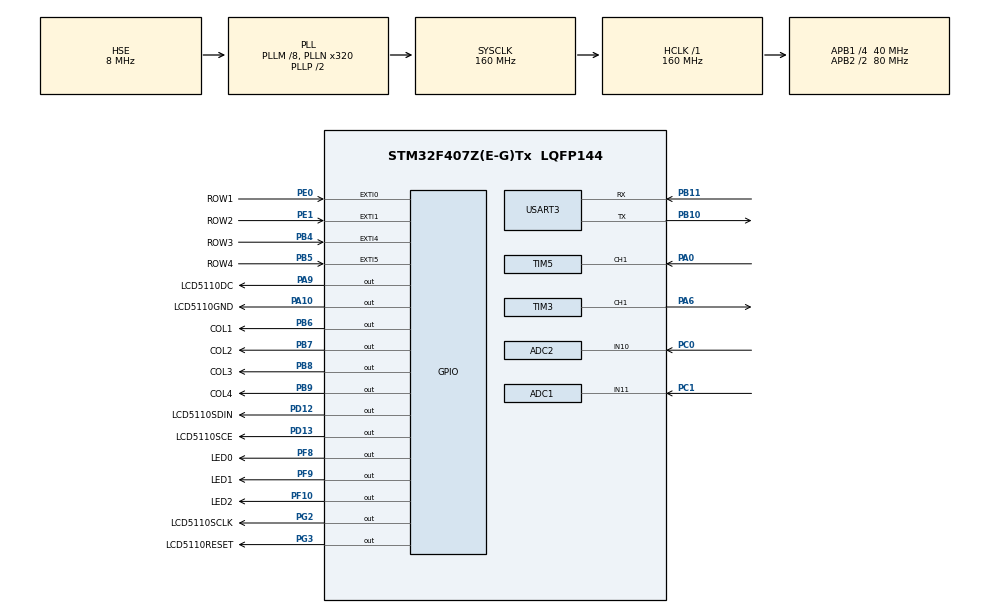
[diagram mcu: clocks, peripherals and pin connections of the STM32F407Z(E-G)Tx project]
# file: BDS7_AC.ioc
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ADC1.Channel-4\#ChannelRegularConversion=ADC_CHANNEL_11
ADC1.ClockPrescaler=ADC_CLOCK_SYNC_PCLK_DIV4
ADC1.ContinuousConvMode=DISABLE
ADC1.NbrOfConversionFlag=1
ADC1.Rank-4\#ChannelRegularConversion=1
ADC1.SamplingTime-4\#ChannelRegularConversion=ADC_SAMPLETIME_15CYCLES
ADC1.master=1
ADC2.Channel-2\#ChannelRegularConversion=ADC_CHANNEL_10
ADC2.ClockPrescaler=ADC_CLOCK_SYNC_PCLK_DIV4
ADC2.NbrOfConversionFlag=1
ADC2.Rank-2\#ChannelRegularConversion=1
ADC2.SamplingTime-2\#ChannelRegularConversion=ADC_SAMPLETIME_15CYCLES
Dma.Request0=TIM5_CH1
Dma.TIM5_CH1.0.Direction=DMA_PERIPH_TO_MEMORY
Dma.TIM5_CH1.0.FIFOMode=DMA_FIFOMODE_DISABLE
Dma.TIM5_CH1.0.Instance=DMA1_Stream2
Dma.TIM5_CH1.0.MemDataAlignment=DMA_MDATAALIGN_WORD
Dma.TIM5_CH1.0.MemInc=DMA_MINC_ENABLE
Dma.TIM5_CH1.0.Mode=DMA_CIRCULAR
Dma.TIM5_CH1.0.PeriphDataAlignment=DMA_PDATAALIGN_WORD
Dma.TIM5_CH1.0.PeriphInc=DMA_PINC_DISABLE
Dma.TIM5_CH1.0.Priority=DMA_PRIORITY_LOW
Mcu.Family=STM32F4
Mcu.Name=STM32F407Z(E-G)Tx
Mcu.Package=LQFP144
NVIC.ADC_IRQn=true\:0\:0\:false\:false\:true\:true\:true
NVIC.DMA1_Stream2_IRQn=true\:0\:0\:false\:false\:true\:false\:true
NVIC.EXTI0_IRQn=true\:0\:0\:true\:false\:true\:true\:true
NVIC.EXTI1_IRQn=true\:0\:0\:true\:false\:true\:true\:true
NVIC.EXTI4_IRQn=true\:0\:0\:true\:false\:true\:true\:true
NVIC.EXTI9_5_IRQn=true\:0\:0\:true\:false\:true\:true\:true
NVIC.PriorityGroup=NVIC_PRIORITYGROUP_2
NVIC.TIM2_IRQn=true\:0\:0\:false\:false\:true\:true\:true
NVIC.TIM3_IRQn=true\:1\:0\:true\:false\:true\:true\:true
NVIC.USART3_IRQn=true\:0\:0\:false\:false\:true\:true\:true
PA0-WKUP.GPIO_PuPd=GPIO_PULLDOWN
PA0-WKUP.Signal=S_TIM5_CH1
PA10.GPIO_Label=LCD5110GND
PA10.GPIO_PuPd=GPIO_PULLDOWN
PA10.GPIO_Speed=GPIO_SPEED_FREQ_VERY_HIGH
PA10.Signal=GPIO_Output
PA13.Mode=Serial_Wire
PA13.Signal=SYS_JTMS-SWDIO
PA14.Mode=Serial_Wire
PA14.Signal=SYS_JTCK-SWCLK
PA6.GPIO_PuPd=GPIO_NOPULL
PA6.GPIO_Speed=GPIO_SPEED_FREQ_VERY_HIGH
PA6.Signal=S_TIM3_CH1
PA9.GPIO_Label=LCD5110DC
PA9.GPIO_Speed=GPIO_SPEED_FREQ_VERY_HIGH
PA9.Signal=GPIO_Output
PB10.Mode=Asynchronous
PB10.Signal=USART3_TX
PB11.Mode=Asynchronous
PB11.Signal=USART3_RX
PB4.GPIO_Label=ROW3
PB4.GPIO_ModeDefaultEXTI=GPIO_MODE_IT_FALLING
PB4.GPIO_PuPd=GPIO_PULLUP
PB4.Signal=GPXTI4
PB5.GPIO_Label=ROW4
PB5.GPIO_ModeDefaultEXTI=GPIO_MODE_IT_FALLING
PB5.GPIO_PuPd=GPIO_PULLUP
PB5.Signal=GPXTI5
PB6.GPIO_Label=COL1
PB6.GPIO_PuPd=GPIO_PULLDOWN
PB6.PinState=GPIO_PIN_RESET
PB6.Signal=GPIO_Output
PB7.GPIO_Label=COL2
PB7.GPIO_PuPd=GPIO_PULLDOWN
PB7.PinState=GPIO_PIN_RESET
PB7.Signal=GPIO_Output
PB8.GPIO_Label=COL3
PB8.GPIO_PuPd=GPIO_PULLDOWN
PB8.PinState=GPIO_PIN_RESET
PB8.Signal=GPIO_Output
PB9.GPIO_Label=COL4
PB9.GPIO_PuPd=GPIO_PULLDOWN
PB9.PinState=GPIO_PIN_RESET
PB9.Signal=GPIO_Output
PC0.Signal=ADCx_IN10
PC1.Signal=ADCx_IN11
PD12.GPIO_Label=LCD5110SDIN
PD12.GPIO_Speed=GPIO_SPEED_FREQ_VERY_HIGH
PD12.Signal=GPIO_Output
PD13.GPIO_Label=LCD5110SCE
PD13.GPIO_PuPd=GPIO_NOPULL
PD13.GPIO_Speed=GPIO_SPEED_FREQ_VERY_HIGH
PD13.PinState=GPIO_PIN_RESET
PD13.Signal=GPIO_Output
PE0.GPIO_Label=ROW1
PE0.GPIO_ModeDefaultEXTI=GPIO_MODE_IT_FALLING
PE0.GPIO_PuPd=GPIO_PULLUP
PE0.Signal=GPXTI0
PE1.GPIO_Label=ROW2
PE1.GPIO_ModeDefaultEXTI=GPIO_MODE_IT_FALLING
PE1.GPIO_PuPd=GPIO_PULLUP
PE1.Signal=GPXTI1
PF10.GPIO_Label=LED2
PF10.GPIO_PuPd=GPIO_PULLUP
PF10.PinState=GPIO_PIN_SET
PF10.Signal=GPIO_Output
PF8.GPIO_Label=LED0
PF8.GPIO_PuPd=GPIO_PULLUP
PF8.PinState=GPIO_PIN_SET
PF8.Signal=GPIO_Output
PF9.GPIO_Label=LED1
PF9.GPIO_PuPd=GPIO_PULLUP
PF9.PinState=GPIO_PIN_SET
PF9.Signal=GPIO_Output
PG2.GPIO_Label=LCD5110SCLK
PG2.GPIO_Speed=GPIO_SPEED_FREQ_VERY_HIGH
PG2.Signal=GPIO_Output
PG3.GPIO_Label=LCD5110RESET
PG3.GPIO_Speed=GPIO_SPEED_FREQ_VERY_HIGH
PG3.PinState=GPIO_PIN_RESET
PG3.Signal=GPIO_Output
PH0-OSC_IN.Mode=HSE-External-Oscillator
PH0-OSC_IN.Signal=RCC_OSC_IN
PH1-OSC_OUT.Mode=HSE-External-Oscillator
PH1-OSC_OUT.Signal=RCC_OSC_OUT
ProjectManager.HeapSize=0x200
ProjectManager.StackSize=0x400
ProjectManager.TargetToolchain=STM32CubeIDE
RCC.48MHZClocksFreq_Value=80000000
RCC.AHBFreq_Value=160000000
RCC.APB1CLKDivider=RCC_HCLK_DIV4
RCC.APB1Freq_Value=40000000
RCC.APB1TimFreq_Value=80000000
RCC.APB2CLKDivider=RCC_HCLK_DIV2
RCC.APB2Freq_Value=80000000
RCC.APB2TimFreq_Value=160000000
RCC.CortexFreq_Value=160000000
RCC.HCLKFreq_Value=160000000
RCC.HSE_VALUE=8000000
RCC.HSI_VALUE=16000000
RCC.LSE_VALUE=32768
RCC.PLLM=8
RCC.PLLN=320
RCC.PLLSourceVirtual=RCC_PLLSOURCE_HSE
RCC.SYSCLKFreq_VALUE=160000000
RCC.SYSCLKSource=RCC_SYSCLKSOURCE_PLLCLK
RCC.VCOOutputFreq_Value=320000000
SH.ADCx_IN10.0=ADC2_IN10,IN10
SH.ADCx_IN11.0=ADC1_IN11,IN11
SH.S_TIM3_CH1.0=TIM3_CH1,PWM Generation1 CH1
SH.S_TIM5_CH1.0=TIM5_CH1,TriggerSource_TI1FP1
SH.S_TIM5_CH1.1=TIM5_CH1,Input_Capture1_from_TI1
TIM2.Period=250-1
TIM2.Prescaler=25-1
TIM2.TIM_MasterOutputTrigger=TIM_TRGO_RESET
TIM3.AutoReloadPreload=TIM_AUTORELOAD_PRELOAD_DISABLE
TIM3.Channel-PWM\ Generation1\ CH1=TIM_CHANNEL_1
TIM3.OCFastMode_PWM-PWM\ Generation1\ CH1=TIM_OCFAST_DISABLE
TIM3.Period=3200-1
TIM3.Prescaler=1-1
TIM3.Pulse-PWM\ Generation1\ CH1=1-1
TIM3.TIM_MasterOutputTrigger=TIM_TRGO_RESET
TIM5.Channel-Input_Capture1_from_TI1=TIM_CHANNEL_1
TIM5.ICFilter_CH1=0
TIM5.TIM_MasterSlaveMode=TIM_MASTERSLAVEMODE_ENABLE
USART3.VirtualMode=VM_ASYNC
VP_TIM2_VS_ClockSourceINT.Mode=Internal
VP_TIM3_VS_ClockSourceINT.Mode=Internal
VP_TIM5_VS_ClockSourceINT.Mode=Internal
VP_TIM5_VS_ControllerModeReset.Mode=Reset Mode
board=custom

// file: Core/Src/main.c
/* USER CODE BEGIN Header */
/**
  ******************************************************************************
  * @file           : main.c
  * @brief          : Main program body
  ******************************************************************************
  * @attention
  *
  * <h2><center>&copy; Copyright (c) 2021 STMicroelectronics.
  * All rights reserved.</center></h2>
  *
  * This software component is licensed by ST under BSD 3-Clause license,
  * the "License"; You may not use this file except in compliance with the
  * License. You may obtain a copy of the License at:
  *                        opensource.org/licenses/BSD-3-Clause
  *
  ******************************************************************************
  */
/* USER CODE END Header */
#include "main.h"

/* USER CODE BEGIN Includes */
#include "lcd5510.h"
#include "arm_math.h"
#include "stdio.h"
#include "outputdata.h"
#include "cmd_process.h"
#include "cmd_queue.h"

/* USER CODE END Includes */

/* USER CODE BEGIN PD */
#define ADCTIMES 	1536		//ADC采样次数
#define FFT_LENGTH        1024 //FFT长度

#define NUM 1536 //�????????????轮采样点�????????????
#define BLOCK_SIZE 128 //计算�????????????次FIR
#define FIR_order 26 //滤波器阶�????????????
#define FIR_Len 26+1 //滤波器系数个�????????????

/* USER CODE END PD */

ADC_HandleTypeDef hadc1;
ADC_HandleTypeDef hadc2;

TIM_HandleTypeDef htim2;
TIM_HandleTypeDef htim3;
TIM_HandleTypeDef htim5;
DMA_HandleTypeDef hdma_tim5_ch1;

UART_HandleTypeDef huart3;

/* USER CODE BEGIN PV */

arm_rfft_fast_instance_f32 FFT;
arm_fir_instance_f32 FIR;
arm_pid_instance_f32 CPID;

char show0[20];
char show1[20];
char show2[20];
char show3[20];
char show4[20];
char show5[20];
unsigned char TFTshow1[20];

float32_t Zmo[3];

float32_t Voltage_12[ADCTIMES];
float32_t Current_12[ADCTIMES];

float32_t   Voltage_12_FIR_out[ADCTIMES];
float32_t   Current_12_FIR_out[ADCTIMES];

float32_t   Voltage_12_FFT_in[FFT_LENGTH];
float32_t   Current_12_FFT_in[FFT_LENGTH];

float32_t   Voltage_12_FFT_out[FFT_LENGTH];
float32_t   Current_12_FFT_out[FFT_LENGTH];

float32_t VoltageReal;
float32_t CurrentReal;
uint32_t Freq=0;

double CurrentSet=1.0;

int16_t PWM=0;

float FIR_State[BLOCK_SIZE+FIR_order];//FIR滤波器状态缓�????????????
float fir_params[FIR_Len] = {
   0.005470681004, 0.006434587762, 0.009209979326,  0.01367058046,  0.01958314888,
    0.02662089281,  0.03438298777,  0.04241899773,  0.05025664717,  0.05743118003,
      0.063514404,  0.06814157218,   0.0710343644,  0.07201842219,   0.0710343644,
    0.06814157218,    0.063514404,  0.05743118003,  0.05025664717,  0.04241899773,
    0.03438298777,  0.02662089281,  0.01958314888,  0.01367058046, 0.009209979326,
   0.006434587762, 0.005470681004
};

uint32_t MainTick;
uint32_t SubTick;

uint8_t Mode=0;
uint8_t frame=0;

float32_t PHD[11];
uint8_t PHDtimes=0;

extern float OutData[4];

uint8_t recive[128];
qsize size=0;
/* USER CODE END PV */

void SystemClock_Config(void);
static void MX_GPIO_Init(void);
static void MX_DMA_Init(void);
static void MX_TIM3_Init(void);
static void MX_ADC1_Init(void);
static void MX_ADC2_Init(void);
static void MX_TIM2_Init(void);
static void MX_TIM5_Init(void);
static void MX_USART3_UART_Init(void);

/* USER CODE BEGIN 0 */
__attribute__ ((section(".ccm_ram"))) uint8_t data[64][1024]  = {0};
/* USER CODE END 0 */

int main(void)
{
  /* USER CODE BEGIN 1 */
	data[0][0] = 12;
	CPID.Kp = 120; 			/* Proportional --比例参数 */
	CPID.Ki = 0;         	/* Integral         --积分参数*/
	CPID.Kd = 0; 			/* Derivative     --微分参数*/
  /* USER CODE END 1 */

  /* MCU Configuration--------------------------------------------------------*/

  /* Reset of all peripherals, Initializes the Flash interface and the Systick. */
  HAL_Init();

  /* Configure the system clock */
  SystemClock_Config();

  /* Initialize all configured peripherals */
  MX_GPIO_Init();
  MX_DMA_Init();
  MX_TIM3_Init();
  MX_ADC1_Init();
  MX_ADC2_Init();
  MX_TIM2_Init();
  MX_TIM5_Init();
  MX_USART3_UART_Init();
  /* USER CODE BEGIN 2 */

  HAL_TIM_Base_Start_IT(&htim2);
  HAL_TIM_PWM_Start_IT(&htim3, TIM_CHANNEL_1);
  HAL_TIM_IC_Start_DMA(&htim5, TIM_CHANNEL_1, &Freq, 1);

  //HAL_ADC_Start_DMA(&hadc1, (uint32_t*)&Current_12, ADCTIMES);

  arm_rfft_fast_init_f32(&FFT, 1024);
  arm_fir_init_f32(&FIR, FIR_Len, fir_params, FIR_State, BLOCK_SIZE);
  arm_pid_init_f32(&CPID, 1);

  LCD_init();
  TFT_Init(recive);

  /* USER CODE END 2 */

  /* Infinite loop */
  while (1)
  {

    /* USER CODE BEGIN 3 */

	if( (HAL_GetTick()-MainTick)>300)
	{
		if(frame==0)
		{
			Zmo[0]=VoltageReal/CurrentReal;
			Zmo[1]=PHD[10];
			arm_cmplx_mag_f32(Zmo,&Zmo[2],1);

			sprintf(show0,"Vrms:%.3f   ",VoltageReal);
			sprintf(show1,"Crms:%.3f   ",CurrentReal);
			sprintf(show2,"Z-R:%.4f    ",Zmo[0]*cos(Zmo[1]*180/PI-0.1));
			sprintf(show3,"Z-X:%.4f    ",Zmo[0]*sin(Zmo[1]*180/PI-0.1));
			sprintf(show4,"[Z]:%.4f    ",Zmo[2]);
			sprintf(show5,"ARG:%.2f    ",Zmo[1]*180/PI-0.1);

			LCD_write_String(0,0,show0);
			LCD_write_String(0,1,show1);
			LCD_write_String(0,2,show2);
			LCD_write_String(0,3,show3);
			LCD_write_String(0,4,show4);
			LCD_write_String(0,5,show5);

			sprintf(TFTshow1,"%.3f%+.3fj",Zmo[0]*cos(Zmo[1]*180/PI-0.1),Zmo[0]*sin(Zmo[1]*180/PI-0.1));
			SetTextValue(0,13,TFTshow1);
			SetTextValueFloat(0, 4, VoltageReal);
			SetTextValueFloat(0, 6, CurrentReal);
			SetTextValueFloat(0, 5, Zmo[1]*180/PI-0.1);
			SetTextValueFloat(0, 12, 80000000.0/(Freq*0.99995));
			SetTextValueFloat(0, 14, Zmo[2]);
		}
		else
		{
			sprintf(show0,"Cset:%.2f   ",CurrentSet);
			sprintf(show1,"PWM :%.2f   ",PWM*1.0/3200.0);
			if(Mode==0)
			{
				sprintf(show2,"Mode: AUTO     ");
			}
			else
			{
				sprintf(show2,"Mode: MANUL    ");
			}
			sprintf(show3,"Freq:%.4f     ",80000000.0/(Freq*0.99995));
			sprintf(show4,"              ");
			sprintf(show5,"              ");

			LCD_write_String(0,0,show0);
			LCD_write_String(0,1,show1);
			LCD_write_String(0,2,show2);
			LCD_write_String(0,3,show3);
			LCD_write_String(0,4,show4);
			LCD_write_String(0,5,show5);
		}

		MainTick=HAL_GetTick();
	}

  }
  /* USER CODE END 3 */
}

void SystemClock_Config(void)
{
  RCC_OscInitTypeDef RCC_OscInitStruct = {0};
  RCC_ClkInitTypeDef RCC_ClkInitStruct = {0};

  /** Configure the main internal regulator output voltage
  */
  __HAL_RCC_PWR_CLK_ENABLE();
  __HAL_PWR_VOLTAGESCALING_CONFIG(PWR_REGULATOR_VOLTAGE_SCALE1);
  /** Initializes the RCC Oscillators according to the specified parameters
  * in the RCC_OscInitTypeDef structure.
  */
  RCC_OscInitStruct.OscillatorType = RCC_OSCILLATORTYPE_HSE;
  RCC_OscInitStruct.HSEState = RCC_HSE_ON;
  RCC_OscInitStruct.PLL.PLLState = RCC_PLL_ON;
  RCC_OscInitStruct.PLL.PLLSource = RCC_PLLSOURCE_HSE;
  RCC_OscInitStruct.PLL.PLLM = 8;
  RCC_OscInitStruct.PLL.PLLN = 320;
  RCC_OscInitStruct.PLL.PLLP = RCC_PLLP_DIV2;
  RCC_OscInitStruct.PLL.PLLQ = 4;
  if (HAL_RCC_OscConfig(&RCC_OscInitStruct) != HAL_OK)
  {
    Error_Handler();
  }
  /** Initializes the CPU, AHB and APB buses clocks
  */
  RCC_ClkInitStruct.ClockType = RCC_CLOCKTYPE_HCLK|RCC_CLOCKTYPE_SYSCLK
                              |RCC_CLOCKTYPE_PCLK1|RCC_CLOCKTYPE_PCLK2;
  RCC_ClkInitStruct.SYSCLKSource = RCC_SYSCLKSOURCE_PLLCLK;
  RCC_ClkInitStruct.AHBCLKDivider = RCC_SYSCLK_DIV1;
  RCC_ClkInitStruct.APB1CLKDivider = RCC_HCLK_DIV4;
  RCC_ClkInitStruct.APB2CLKDivider = RCC_HCLK_DIV2;

  if (HAL_RCC_ClockConfig(&RCC_ClkInitStruct, FLASH_LATENCY_5) != HAL_OK)
  {
    Error_Handler();
  }
}

static void MX_ADC1_Init(void)
{

  ADC_ChannelConfTypeDef sConfig = {0};

  /** Configure the global features of the ADC (Clock, Resolution, Data Alignment and number of conversion)
  */
  hadc1.Instance = ADC1;
  hadc1.Init.ClockPrescaler = ADC_CLOCK_SYNC_PCLK_DIV4;
  hadc1.Init.Resolution = ADC_RESOLUTION_12B;
  hadc1.Init.ScanConvMode = DISABLE;
  hadc1.Init.ContinuousConvMode = DISABLE;
  hadc1.Init.DiscontinuousConvMode = DISABLE;
  hadc1.Init.ExternalTrigConvEdge = ADC_EXTERNALTRIGCONVEDGE_NONE;
  hadc1.Init.ExternalTrigConv = ADC_SOFTWARE_START;
  hadc1.Init.DataAlign = ADC_DATAALIGN_RIGHT;
  hadc1.Init.NbrOfConversion = 1;
  hadc1.Init.DMAContinuousRequests = DISABLE;
  hadc1.Init.EOCSelection = ADC_EOC_SINGLE_CONV;
  if (HAL_ADC_Init(&hadc1) != HAL_OK)
  {
    Error_Handler();
  }
  /** Configure for the selected ADC regular channel its corresponding rank in the sequencer and its sample time.
  */
  sConfig.Channel = ADC_CHANNEL_11;
  sConfig.Rank = 1;
  sConfig.SamplingTime = ADC_SAMPLETIME_15CYCLES;
  if (HAL_ADC_ConfigChannel(&hadc1, &sConfig) != HAL_OK)
  {
    Error_Handler();
  }

}

static void MX_ADC2_Init(void)
{

  ADC_ChannelConfTypeDef sConfig = {0};

  /** Configure the global features of the ADC (Clock, Resolution, Data Alignment and number of conversion)
  */
  hadc2.Instance = ADC2;
  hadc2.Init.ClockPrescaler = ADC_CLOCK_SYNC_PCLK_DIV4;
  hadc2.Init.Resolution = ADC_RESOLUTION_12B;
  hadc2.Init.ScanConvMode = DISABLE;
  hadc2.Init.ContinuousConvMode = DISABLE;
  hadc2.Init.DiscontinuousConvMode = DISABLE;
  hadc2.Init.ExternalTrigConvEdge = ADC_EXTERNALTRIGCONVEDGE_NONE;
  hadc2.Init.ExternalTrigConv = ADC_SOFTWARE_START;
  hadc2.Init.DataAlign = ADC_DATAALIGN_RIGHT;
  hadc2.Init.NbrOfConversion = 1;
  hadc2.Init.DMAContinuousRequests = DISABLE;
  hadc2.Init.EOCSelection = ADC_EOC_SINGLE_CONV;
  if (HAL_ADC_Init(&hadc2) != HAL_OK)
  {
    Error_Handler();
  }
  /** Configure for the selected ADC regular channel its corresponding rank in the sequencer and its sample time.
  */
  sConfig.Channel = ADC_CHANNEL_10;
  sConfig.Rank = 1;
  sConfig.SamplingTime = ADC_SAMPLETIME_15CYCLES;
  if (HAL_ADC_ConfigChannel(&hadc2, &sConfig) != HAL_OK)
  {
    Error_Handler();
  }

}

static void MX_TIM2_Init(void)
{

  TIM_ClockConfigTypeDef sClockSourceConfig = {0};
  TIM_MasterConfigTypeDef sMasterConfig = {0};

  htim2.Instance = TIM2;
  htim2.Init.Prescaler = 25-1;
  htim2.Init.CounterMode = TIM_COUNTERMODE_UP;
  htim2.Init.Period = 250-1;
  htim2.Init.ClockDivision = TIM_CLOCKDIVISION_DIV1;
  htim2.Init.AutoReloadPreload = TIM_AUTORELOAD_PRELOAD_DISABLE;
  if (HAL_TIM_Base_Init(&htim2) != HAL_OK)
  {
    Error_Handler();
  }
  sClockSourceConfig.ClockSource = TIM_CLOCKSOURCE_INTERNAL;
  if (HAL_TIM_ConfigClockSource(&htim2, &sClockSourceConfig) != HAL_OK)
  {
    Error_Handler();
  }
  sMasterConfig.MasterOutputTrigger = TIM_TRGO_RESET;
  sMasterConfig.MasterSlaveMode = TIM_MASTERSLAVEMODE_DISABLE;
  if (HAL_TIMEx_MasterConfigSynchronization(&htim2, &sMasterConfig) != HAL_OK)
  {
    Error_Handler();
  }

}

static void MX_TIM3_Init(void)
{

  TIM_ClockConfigTypeDef sClockSourceConfig = {0};
  TIM_MasterConfigTypeDef sMasterConfig = {0};
  TIM_OC_InitTypeDef sConfigOC = {0};

  htim3.Instance = TIM3;
  htim3.Init.Prescaler = 1-1;
  htim3.Init.CounterMode = TIM_COUNTERMODE_UP;
  htim3.Init.Period = 3200-1;
  htim3.Init.ClockDivision = TIM_CLOCKDIVISION_DIV1;
  htim3.Init.AutoReloadPreload = TIM_AUTORELOAD_PRELOAD_DISABLE;
  if (HAL_TIM_Base_Init(&htim3) != HAL_OK)
  {
    Error_Handler();
  }
  sClockSourceConfig.ClockSource = TIM_CLOCKSOURCE_INTERNAL;
  if (HAL_TIM_ConfigClockSource(&htim3, &sClockSourceConfig) != HAL_OK)
  {
    Error_Handler();
  }
  if (HAL_TIM_PWM_Init(&htim3) != HAL_OK)
  {
    Error_Handler();
  }
  sMasterConfig.MasterOutputTrigger = TIM_TRGO_RESET;
  sMasterConfig.MasterSlaveMode = TIM_MASTERSLAVEMODE_DISABLE;
  if (HAL_TIMEx_MasterConfigSynchronization(&htim3, &sMasterConfig) != HAL_OK)
  {
    Error_Handler();
  }
  sConfigOC.OCMode = TIM_OCMODE_PWM1;
  sConfigOC.Pulse = 1-1;
  sConfigOC.OCPolarity = TIM_OCPOLARITY_HIGH;
  sConfigOC.OCFastMode = TIM_OCFAST_DISABLE;
  if (HAL_TIM_PWM_ConfigChannel(&htim3, &sConfigOC, TIM_CHANNEL_1) != HAL_OK)
  {
    Error_Handler();
  }
  HAL_TIM_MspPostInit(&htim3);

}

static void MX_TIM5_Init(void)
{

  TIM_ClockConfigTypeDef sClockSourceConfig = {0};
  TIM_SlaveConfigTypeDef sSlaveConfig = {0};
  TIM_MasterConfigTypeDef sMasterConfig = {0};
  TIM_IC_InitTypeDef sConfigIC = {0};

  htim5.Instance = TIM5;
  htim5.Init.Prescaler = 0;
  htim5.Init.CounterMode = TIM_COUNTERMODE_UP;
  htim5.Init.Period = 4294967295;
  htim5.Init.ClockDivision = TIM_CLOCKDIVISION_DIV1;
  htim5.Init.AutoReloadPreload = TIM_AUTORELOAD_PRELOAD_DISABLE;
  if (HAL_TIM_Base_Init(&htim5) != HAL_OK)
  {
    Error_Handler();
  }
  sClockSourceConfig.ClockSource = TIM_CLOCKSOURCE_INTERNAL;
  if (HAL_TIM_ConfigClockSource(&htim5, &sClockSourceConfig) != HAL_OK)
  {
    Error_Handler();
  }
  if (HAL_TIM_IC_Init(&htim5) != HAL_OK)
  {
    Error_Handler();
  }
  sSlaveConfig.SlaveMode = TIM_SLAVEMODE_RESET;
  sSlaveConfig.InputTrigger = TIM_TS_TI1FP1;
  sSlaveConfig.TriggerPolarity = TIM_INPUTCHANNELPOLARITY_RISING;
  sSlaveConfig.TriggerFilter = 0;
  if (HAL_TIM_SlaveConfigSynchro(&htim5, &sSlaveConfig) != HAL_OK)
  {
    Error_Handler();
  }
  sMasterConfig.MasterOutputTrigger = TIM_TRGO_RESET;
  sMasterConfig.MasterSlaveMode = TIM_MASTERSLAVEMODE_ENABLE;
  if (HAL_TIMEx_MasterConfigSynchronization(&htim5, &sMasterConfig) != HAL_OK)
  {
    Error_Handler();
  }
  sConfigIC.ICPolarity = TIM_INPUTCHANNELPOLARITY_RISING;
  sConfigIC.ICSelection = TIM_ICSELECTION_DIRECTTI;
  sConfigIC.ICPrescaler = TIM_ICPSC_DIV1;
  sConfigIC.ICFilter = 0;
  if (HAL_TIM_IC_ConfigChannel(&htim5, &sConfigIC, TIM_CHANNEL_1) != HAL_OK)
  {
    Error_Handler();
  }

}

static void MX_USART3_UART_Init(void)
{

  huart3.Instance = USART3;
  huart3.Init.BaudRate = 115200;
  huart3.Init.WordLength = UART_WORDLENGTH_8B;
  huart3.Init.StopBits = UART_STOPBITS_1;
  huart3.Init.Parity = UART_PARITY_NONE;
  huart3.Init.Mode = UART_MODE_TX_RX;
  huart3.Init.HwFlowCtl = UART_HWCONTROL_NONE;
  huart3.Init.OverSampling = UART_OVERSAMPLING_16;
  if (HAL_UART_Init(&huart3) != HAL_OK)
  {
    Error_Handler();
  }

}

static void MX_DMA_Init(void)
{

  /* DMA controller clock enable */
  __HAL_RCC_DMA1_CLK_ENABLE();

  /* DMA interrupt init */
  /* DMA1_Stream2_IRQn interrupt configuration */
  HAL_NVIC_SetPriority(DMA1_Stream2_IRQn, 0, 0);
  HAL_NVIC_EnableIRQ(DMA1_Stream2_IRQn);

}

static void MX_GPIO_Init(void)
{
  GPIO_InitTypeDef GPIO_InitStruct = {0};

  /* GPIO Ports Clock Enable */
  __HAL_RCC_GPIOF_CLK_ENABLE();
  __HAL_RCC_GPIOH_CLK_ENABLE();
  __HAL_RCC_GPIOC_CLK_ENABLE();
  __HAL_RCC_GPIOA_CLK_ENABLE();
  __HAL_RCC_GPIOB_CLK_ENABLE();
  __HAL_RCC_GPIOD_CLK_ENABLE();
  __HAL_RCC_GPIOG_CLK_ENABLE();
  __HAL_RCC_GPIOE_CLK_ENABLE();

  /*Configure GPIO pin Output Level */
  HAL_GPIO_WritePin(GPIOF, LED0_Pin|LED1_Pin|LED2_Pin, GPIO_PIN_SET);

  /*Configure GPIO pin Output Level */
  HAL_GPIO_WritePin(GPIOD, LCD5110SDIN_Pin|LCD5110SCE_Pin, GPIO_PIN_RESET);

  /*Configure GPIO pin Output Level */
  HAL_GPIO_WritePin(GPIOG, LCD5110SCLK_Pin|LCD5110RESET_Pin, GPIO_PIN_RESET);

  /*Configure GPIO pin Output Level */
  HAL_GPIO_WritePin(GPIOA, LCD5110DC_Pin|LCD5110GND_Pin, GPIO_PIN_RESET);

  /*Configure GPIO pin Output Level */
  HAL_GPIO_WritePin(GPIOB, COL1_Pin|COL2_Pin|COL3_Pin|COL4_Pin, GPIO_PIN_RESET);

  /*Configure GPIO pins : LED0_Pin LED1_Pin LED2_Pin */
  GPIO_InitStruct.Pin = LED0_Pin|LED1_Pin|LED2_Pin;
  GPIO_InitStruct.Mode = GPIO_MODE_OUTPUT_PP;
  GPIO_InitStruct.Pull = GPIO_PULLUP;
  GPIO_InitStruct.Speed = GPIO_SPEED_FREQ_LOW;
  HAL_GPIO_Init(GPIOF, &GPIO_InitStruct);

  /*Configure GPIO pins : LCD5110SDIN_Pin LCD5110SCE_Pin */
  GPIO_InitStruct.Pin = LCD5110SDIN_Pin|LCD5110SCE_Pin;
  GPIO_InitStruct.Mode = GPIO_MODE_OUTPUT_PP;
  GPIO_InitStruct.Pull = GPIO_NOPULL;
  GPIO_InitStruct.Speed = GPIO_SPEED_FREQ_VERY_HIGH;
  HAL_GPIO_Init(GPIOD, &GPIO_InitStruct);

  /*Configure GPIO pins : LCD5110SCLK_Pin LCD5110RESET_Pin */
  GPIO_InitStruct.Pin = LCD5110SCLK_Pin|LCD5110RESET_Pin;
  GPIO_InitStruct.Mode = GPIO_MODE_OUTPUT_PP;
  GPIO_InitStruct.Pull = GPIO_NOPULL;
  GPIO_InitStruct.Speed = GPIO_SPEED_FREQ_VERY_HIGH;
  HAL_GPIO_Init(GPIOG, &GPIO_InitStruct);

  /*Configure GPIO pin : LCD5110DC_Pin */
  GPIO_InitStruct.Pin = LCD5110DC_Pin;
  GPIO_InitStruct.Mode = GPIO_MODE_OUTPUT_PP;
  GPIO_InitStruct.Pull = GPIO_NOPULL;
  GPIO_InitStruct.Speed = GPIO_SPEED_FREQ_VERY_HIGH;
  HAL_GPIO_Init(LCD5110DC_GPIO_Port, &GPIO_InitStruct);

  /*Configure GPIO pin : LCD5110GND_Pin */
  GPIO_InitStruct.Pin = LCD5110GND_Pin;
  GPIO_InitStruct.Mode = GPIO_MODE_OUTPUT_PP;
  GPIO_InitStruct.Pull = GPIO_PULLDOWN;
  GPIO_InitStruct.Speed = GPIO_SPEED_FREQ_VERY_HIGH;
  HAL_GPIO_Init(LCD5110GND_GPIO_Port, &GPIO_InitStruct);

  /*Configure GPIO pins : ROW3_Pin ROW4_Pin */
  GPIO_InitStruct.Pin = ROW3_Pin|ROW4_Pin;
  GPIO_InitStruct.Mode = GPIO_MODE_IT_FALLING;
  GPIO_InitStruct.Pull = GPIO_PULLUP;
  HAL_GPIO_Init(GPIOB, &GPIO_InitStruct);

  /*Configure GPIO pins : COL1_Pin COL2_Pin COL3_Pin COL4_Pin */
  GPIO_InitStruct.Pin = COL1_Pin|COL2_Pin|COL3_Pin|COL4_Pin;
  GPIO_InitStruct.Mode = GPIO_MODE_OUTPUT_PP;
  GPIO_InitStruct.Pull = GPIO_PULLDOWN;
  GPIO_InitStruct.Speed = GPIO_SPEED_FREQ_LOW;
  HAL_GPIO_Init(GPIOB, &GPIO_InitStruct);

  /*Configure GPIO pins : ROW1_Pin ROW2_Pin */
  GPIO_InitStruct.Pin = ROW1_Pin|ROW2_Pin;
  GPIO_InitStruct.Mode = GPIO_MODE_IT_FALLING;
  GPIO_InitStruct.Pull = GPIO_PULLUP;
  HAL_GPIO_Init(GPIOE, &GPIO_InitStruct);

  /* EXTI interrupt init*/
  HAL_NVIC_SetPriority(EXTI0_IRQn, 0, 0);
  HAL_NVIC_EnableIRQ(EXTI0_IRQn);

  HAL_NVIC_SetPriority(EXTI1_IRQn, 0, 0);
  HAL_NVIC_EnableIRQ(EXTI1_IRQn);

  HAL_NVIC_SetPriority(EXTI4_IRQn, 0, 0);
  HAL_NVIC_EnableIRQ(EXTI4_IRQn);

  HAL_NVIC_SetPriority(EXTI9_5_IRQn, 0, 0);
  HAL_NVIC_EnableIRQ(EXTI9_5_IRQn);

}

void Error_Handler(void)
{
  __disable_irq();
  while (1)
  {
  }
}

/************************ (C) COPYRIGHT STMicroelectronics *****END OF FILE****/
